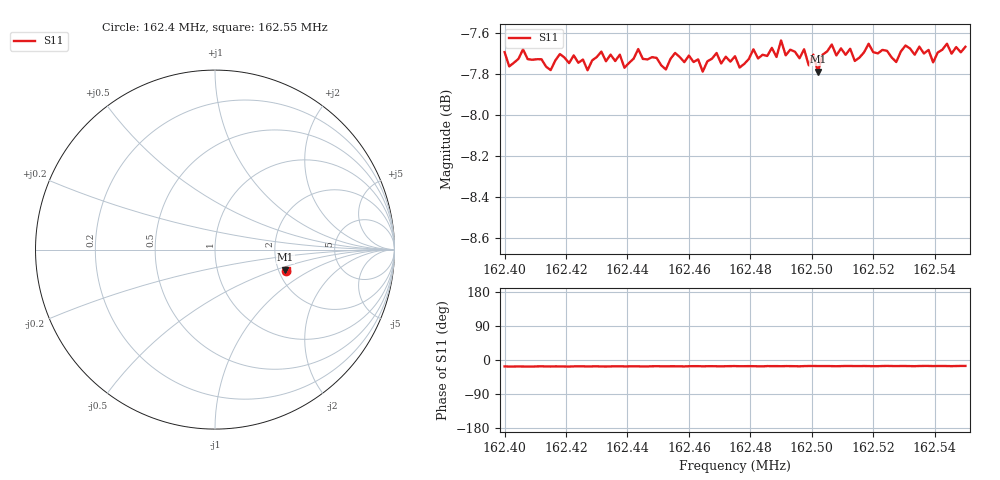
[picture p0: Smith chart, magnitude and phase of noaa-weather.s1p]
! Calibrated averaged scanner-service zoom
# Hz S RI R 50
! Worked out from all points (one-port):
!   101 points, 162.4 MHz to 162.55 MHz, reference 50 ohm
!   lowest |S11| = -7.8 dB at 162.502 MHz (marker M1), VSWR 2.38, Z = 109 - j29.4 ohm
!   |S11| at or under -10 dB: nowhere
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1.624e8  0.3944 -0.1203
1.624015e8  0.3906 -0.1216
1.62406e8  0.3946 -0.1219
1.62415e8  0.3901 -0.1204
1.624195e8  0.3929 -0.1211
1.62427e8  0.3902 -0.1199
1.62433e8  0.3919 -0.1214
1.624375e8  0.3947 -0.1173
1.62439e8  0.3911 -0.1189
1.624435e8  0.3955 -0.1193
1.624525e8  0.391 -0.118
1.62457e8  0.3938 -0.1184
1.624645e8  0.3908 -0.1168
1.62475e8  0.3953 -0.114
1.62484e8  0.3943 -0.1186
1.624855e8  0.3954 -0.114
1.6249e8  0.3981 -0.1174
1.624945e8  0.3958 -0.1161
1.625005e8  0.3962 -0.1124
1.62502e8  0.392 -0.1125
1.625065e8  0.3977 -0.1154
1.625125e8  0.3976 -0.1124
1.62514e8  0.3942 -0.1138
1.625185e8  0.3982 -0.1145
1.625275e8  0.394 -0.1139
1.62532e8  0.397 -0.1145
1.625395e8  0.3941 -0.1132
1.6255e8  0.3984 -0.1112
